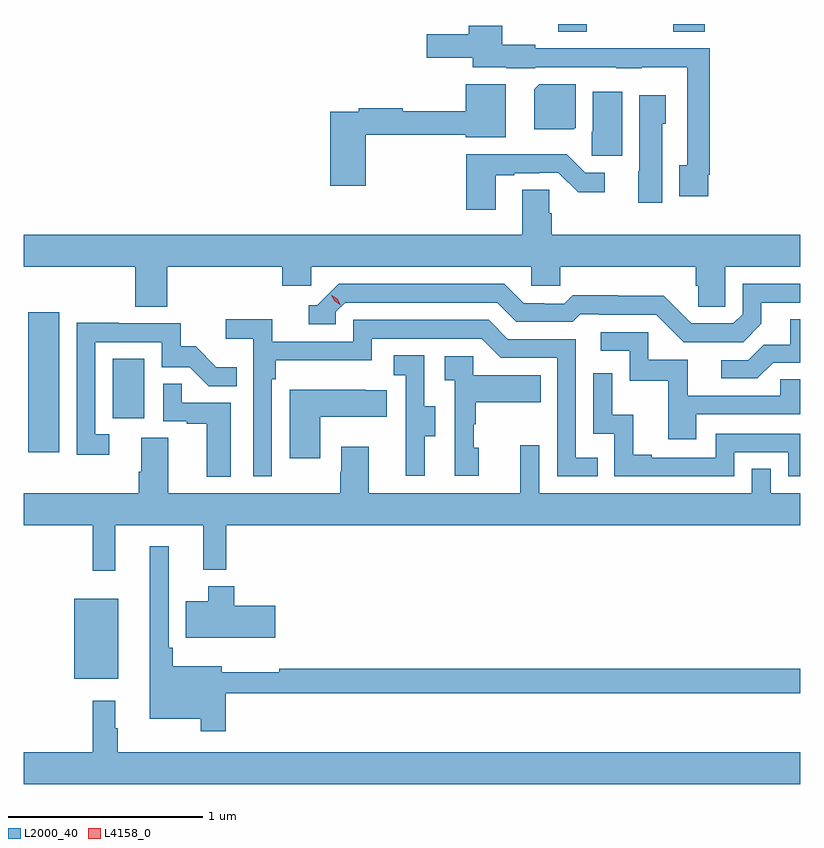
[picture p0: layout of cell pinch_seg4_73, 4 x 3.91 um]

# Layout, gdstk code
import gdstk
lib = gdstk.Library(unit=1e-6, precision=1e-09)
def R(c, l, rs):  # rectangles x0, y0, x1, y1
    for r in rs: c.add(gdstk.rectangle(r[:2], r[2:], *l))
def P(c, l, *ps):  # polygons
    for p in ps: c.add(gdstk.Polygon(p, *l))
L2000_40 = (2000, 40)
L4158_0 = (4158, 0)

pinch_seg4_73 = lib.new_cell('pinch_seg4_73')
R(pinch_seg4_73, L2000_40, [(1058.006,810.683,1058.233,811.093), (1057.769,811.848,1057.93,812.569), (1058.204,812.022,1058.368,812.329), (1060.499,814.012,1060.647,814.053), (1061.092,814.012,1061.252,814.053)])
P(pinch_seg4_73, L2000_40, [(1061.272,813.277),(1061.279,813.277),(1061.279,813.927),(1061.029,813.927),(1061.029,813.929),(1060.797,813.929),(1060.797,813.927),(1060.38,813.927),(1060.38,813.946),(1060.21,813.946),(1060.21,814.045),(1060.039,814.045),(1060.039,814),(1059.822,814),(1059.822,813.878),(1060.058,813.878),(1060.058,813.83),(1060.23,813.83),(1060.23,813.824),(1060.38,813.824),(1060.38,813.831),(1060.797,813.831),(1060.797,813.824),(1060.929,813.824),(1060.929,813.83),(1061.163,813.83),(1061.163,813.326),(1061.123,813.326),(1061.123,813.165),(1061.272,813.165)],
  [(1060.588,813.52),(1060.588,813.742),(1060.402,813.742),(1060.376,813.716),(1060.376,813.512),(1060.58,813.512)],
  [(1059.509,813.484),(1060.022,813.484),(1060.022,813.47),(1060.228,813.47),(1060.228,813.742),(1060.022,813.742),(1060.022,813.605),(1059.699,813.605),(1059.699,813.62),(1059.472,813.62),(1059.472,813.6),(1059.326,813.6),(1059.326,813.219),(1059.509,813.219)],
  [(1060.828,813.703),(1060.676,813.703),(1060.676,813.498),(1060.672,813.498),(1060.672,813.375),(1060.828,813.375)],
  [(1061.035,813.54),(1061.053,813.54),(1061.053,813.685),(1060.916,813.685),(1060.916,813.294),(1060.91,813.294),(1060.91,813.132),(1061.035,813.132)],
  [(1060.177,813.273),(1060.273,813.273),(1060.273,813.285),(1060.4,813.285),(1060.4,813.288),(1060.5,813.288),(1060.603,813.186),(1060.738,813.186),(1060.738,813.288),(1060.638,813.288),(1060.543,813.383),(1060.025,813.383),(1060.025,813.096),(1060.177,813.096)],
  [(1058.486,812.804),(1059.077,812.804),(1059.077,812.706),(1059.228,812.706),(1059.228,812.804),(1060.359,812.804),(1060.359,812.706),(1060.509,812.706),(1060.509,812.804),(1061.207,812.804),(1061.207,812.706),(1061.221,812.706),(1061.221,812.596),(1061.358,812.596),(1061.358,812.804),(1061.746,812.804),(1061.746,812.968),(1060.466,812.968),(1060.466,813.078),(1060.452,813.078),(1060.452,813.2),(1060.313,813.2),(1060.313,812.968),(1057.746,812.968),(1057.746,812.804),(1058.321,812.804),(1058.321,812.596),(1058.486,812.596)],
  [(1061.545,812.509),(1061.545,812.619),(1061.746,812.619),(1061.746,812.715),(1061.448,812.715),(1061.448,812.559),(1061.4,812.511),(1061.184,812.511),(1061.042,812.653),(1060.806,812.653),(1060.806,812.656),(1060.573,812.656),(1060.531,812.613),(1060.428,812.613),(1060.428,812.616),(1060.321,812.616),(1060.222,812.715),(1059.369,812.715),(1059.258,812.604),(1059.215,812.604),(1059.215,812.508),(1059.354,812.508),(1059.354,812.571),(1059.402,812.619),(1060.185,812.619),(1060.284,812.52),(1060.573,812.52),(1060.612,812.559),(1060.711,812.559),(1060.711,812.556),(1061.004,812.556),(1061.145,812.415),(1061.451,812.415)],
  [(1059.024,812.225),(1059.044,812.225),(1059.044,812.321),(1059.54,812.321),(1059.54,812.433),(1060.104,812.433),(1060.203,812.334),(1060.494,812.334),(1060.494,811.725),(1060.703,811.725),(1060.703,811.821),(1060.59,811.821),(1060.59,812.43),(1060.24,812.43),(1060.141,812.529),(1059.444,812.529),(1059.444,812.418),(1059.026,812.418),(1059.026,812.534),(1058.787,812.534),(1058.787,812.432),(1058.928,812.432),(1058.928,811.725),(1059.024,811.725)],
  [(1061.605,812.31),(1061.746,812.31),(1061.746,812.534),(1061.693,812.534),(1061.693,812.402),(1061.558,812.402),(1061.478,812.322),(1061.337,812.322),(1061.337,812.229),(1061.524,812.229)],
  [(1058.188,811.941),(1058.115,811.941),(1058.115,812.415),(1058.457,812.415),(1058.457,812.286),(1058.602,812.286),(1058.7,812.188),(1058.843,812.188),(1058.843,812.287),(1058.739,812.287),(1058.632,812.394),(1058.556,812.394),(1058.556,812.511),(1058.237,812.511),(1058.237,812.516),(1058.019,812.516),(1058.019,811.836),(1058.188,811.836)],
  [(1061.209,812.043),(1061.746,812.043),(1061.746,812.223),(1061.641,812.223),(1061.641,812.139),(1061.167,812.139),(1061.167,812.325),(1060.962,812.325),(1060.962,812.466),(1060.719,812.466),(1060.719,812.37),(1060.866,812.37),(1060.866,812.217),(1061.065,812.217),(1061.065,811.914),(1061.209,811.914)],
  [(1059.811,811.93),(1059.865,811.93),(1059.865,812.085),(1059.81,812.085),(1059.81,812.348),(1059.651,812.348),(1059.651,812.245),(1059.714,812.245),(1059.714,811.941),(1059.713,811.941),(1059.713,811.728),(1059.811,811.728)],
  [(1060.09,811.872),(1060.065,811.872),(1060.065,811.991),(1060.075,811.991),(1060.075,812.105),(1060.409,812.105),(1060.409,812.245),(1060.062,812.245),(1060.062,812.343),(1059.915,812.343),(1059.915,812.219),(1059.966,812.219),(1059.966,811.728),(1060.09,811.728)],
  [(1061.406,811.848),(1061.682,811.848),(1061.682,811.725),(1061.746,811.725),(1061.746,811.944),(1061.31,811.944),(1061.31,811.821),(1060.981,811.821),(1060.981,811.834),(1060.886,811.834),(1060.886,812.042),(1060.776,812.042),(1060.776,812.254),(1060.68,812.254),(1060.68,811.944),(1060.788,811.944),(1060.788,811.725),(1061.406,811.725)],
  [(1058.812,812.103),(1058.561,812.103),(1058.561,812.201),(1058.466,812.201),(1058.466,812.007),(1058.587,812.007),(1058.587,811.995),(1058.69,811.995),(1058.69,811.721),(1058.812,811.721)],
  [(1059.274,812.03),(1059.617,812.03),(1059.617,812.167),(1059.509,812.167),(1059.509,812.17),(1059.116,812.17),(1059.116,811.818),(1059.274,811.818)],
  [(1058.219,811.472),(1058.672,811.472),(1058.672,811.244),(1058.789,811.244),(1058.789,811.472),(1061.746,811.472),(1061.746,811.636),(1061.592,811.636),(1061.592,811.763),(1061.496,811.763),(1061.496,811.636),(1060.401,811.636),(1060.401,811.885),(1060.304,811.885),(1060.304,811.636),(1059.523,811.636),(1059.523,811.876),(1059.383,811.876),(1059.383,811.748),(1059.376,811.748),(1059.376,811.636),(1058.491,811.636),(1058.491,811.922),(1058.351,811.922),(1058.351,811.748),(1058.339,811.748),(1058.339,811.636),(1057.746,811.636),(1057.746,811.472),(1058.101,811.472),(1058.101,811.239),(1058.219,811.239)],
  [(1058.786,810.606),(1061.746,810.606),(1061.746,810.734),(1059.063,810.734),(1059.063,810.715),(1058.767,810.715),(1058.767,810.745),(1058.513,810.745),(1058.513,810.841),(1058.493,810.841),(1058.493,811.363),(1058.396,811.363),(1058.396,810.476),(1058.658,810.476),(1058.658,810.411),(1058.786,810.411)],
  [(1059.043,811.059),(1058.831,811.059),(1058.831,811.159),(1058.696,811.159),(1058.696,811.081),(1058.582,811.081),(1058.582,810.893),(1059.043,810.893)],
  [(1061.746,810.304),(1058.23,810.304),(1058.23,810.428),(1058.218,810.428),(1058.218,810.568),(1058.101,810.568),(1058.101,810.304),(1057.746,810.304),(1057.746,810.14),(1061.746,810.14)])
P(pinch_seg4_73, L4158_0, [(1059.379,812.606),(1059.348,812.625),(1059.331,812.657),(1059.331,812.657),(1059.332,812.657),(1059.362,812.638),(1059.379,812.606),(1059.379,812.606)])

lib.write_gds('pinch_seg4_73.gds')
